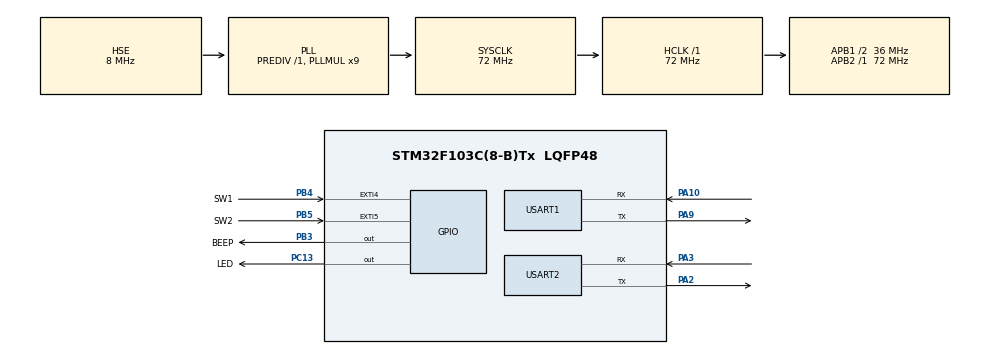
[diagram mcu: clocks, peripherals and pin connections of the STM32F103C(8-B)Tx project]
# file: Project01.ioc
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Mcu.Family=STM32F1
Mcu.Name=STM32F103C(8-B)Tx
Mcu.Package=LQFP48
NVIC.PriorityGroup=NVIC_PRIORITYGROUP_4
NVIC.USART1_IRQn=true\:3\:0\:true\:false\:true\:true\:true\:true
NVIC.USART2_IRQn=true\:3\:0\:true\:false\:true\:true\:true\:true
PA10.Mode=Asynchronous
PA10.Signal=USART1_RX
PA13.Mode=Serial_Wire
PA13.Signal=SYS_JTMS-SWDIO
PA14.Mode=Serial_Wire
PA14.Signal=SYS_JTCK-SWCLK
PA2.Mode=Asynchronous
PA2.Signal=USART2_TX
PA3.Mode=Asynchronous
PA3.Signal=USART2_RX
PA9.Mode=Asynchronous
PA9.Signal=USART1_TX
PB3.GPIO_Label=BEEP
PB3.PinState=GPIO_PIN_SET
PB3.Signal=GPIO_Output
PB4.GPIO_Label=SW1
PB4.GPIO_PuPd=GPIO_PULLUP
PB4.Signal=GPXTI4
PB5.GPIO_Label=SW2
PB5.GPIO_PuPd=GPIO_PULLUP
PB5.Signal=GPXTI5
PC13-TAMPER-RTC.GPIO_Label=LED
PC13-TAMPER-RTC.PinState=GPIO_PIN_SET
PC13-TAMPER-RTC.Signal=GPIO_Output
PD0-OSC_IN.Mode=HSE-External-Oscillator
PD0-OSC_IN.Signal=RCC_OSC_IN
PD1-OSC_OUT.Mode=HSE-External-Oscillator
PD1-OSC_OUT.Signal=RCC_OSC_OUT
ProjectManager.HeapSize=0x200
ProjectManager.StackSize=0x400
ProjectManager.TargetToolchain=MDK-ARM V5.32
RCC.AHBFreq_Value=72000000
RCC.APB1CLKDivider=RCC_HCLK_DIV2
RCC.APB1Freq_Value=36000000
RCC.APB1TimFreq_Value=72000000
RCC.APB2Freq_Value=72000000
RCC.APB2TimFreq_Value=72000000
RCC.HCLKFreq_Value=72000000
RCC.PLLMUL=RCC_PLL_MUL9
RCC.PLLSourceVirtual=RCC_PLLSOURCE_HSE
RCC.SYSCLKFreq_VALUE=72000000
RCC.SYSCLKSource=RCC_SYSCLKSOURCE_PLLCLK
RCC.USBFreq_Value=72000000
TIM1.Prescaler=7.2-1
USART1.VirtualMode=VM_ASYNC
USART2.VirtualMode=VM_ASYNC
VP_TIM1_VS_ClockSourceINT.Mode=Internal
board=custom

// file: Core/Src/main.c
/* USER CODE BEGIN Header */
/**
  ******************************************************************************
  * @file           : main.c
  * @brief          : Main program body
  ******************************************************************************
  * @attention
  *
  * Copyright (c) 2022 STMicroelectronics.
  * All rights reserved.
  *
  * This software is licensed under terms that can be found in the LICENSE file
  * in the root directory of this software component.
  * If no LICENSE file comes with this software, it is provided AS-IS.
  *
  ******************************************************************************
  */
/* USER CODE END Header */
#include "main.h"
#include "tim.h"
#include "usart.h"
#include "gpio.h"

/* USER CODE BEGIN Includes */
#include "hal_temp_hum.h"
#include "esp8266_at.h"
#include "esp8266_mqtt.h"
//#include <stdio.h>		//在usart.h中已经定义
#include <string.h>
/* USER CODE END Includes */

/* USER CODE BEGIN PD */

#define USER_MAIN_DEBUG

#ifdef USER_MAIN_DEBUG
#define user_main_printf(format, ...) printf( format "\r\n",##__VA_ARGS__)
#define user_main_info(format, ...) printf("【main】info:" format "\r\n",##__VA_ARGS__)
#define user_main_debug(format, ...) printf("【main】debug:" format "\r\n",##__VA_ARGS__)
#define user_main_error(format, ...) printf("【main】error:" format "\r\n",##__VA_ARGS__)
#else
#define user_main_printf(format, ...)
#define user_main_info(format, ...)
#define user_main_debug(format, ...)
#define user_main_error(format, ...)
#endif

//此处根据自己的wifi作调整
#define WIFI_NAME "GZ08"
#define WIFI_PASSWD "wxc520521"

//此处是阿里云服务器的登陆配置
#define MQTT_BROKERADDRESS "mqtts.heclouds.com"
#define MQTT_CLIENTID "esp01s"
#define MQTT_USARNAME "554632"
#define MQTT_PASSWD "version=2018-10-31&res=products%2F554632%2Fdevices%2Fesp01s&et=2037255523&method=md5&sign=sSGm%2FRiIMglp4j11xzbXqw%3D%3D"
#define	MQTT_PUBLISH_TOPIC "$sys/554632/esp01s/dp/post/json"
#define MQTT_SUBSCRIBE_TOPIC "$sys/554632/esp01s/cmd/request/+"
#define MQTT_SUBSCRIBE_RESPONSE_TOPIC "$sys/554632/esp01s/cmd/response/"

//此处是主循环运行延时宏定义
#define LOOPTIME 30 	//程序周期循环延时时间：30ms
#define COUNTER_LEDBLINK			(300/LOOPTIME)		//LED运行闪烁时间：300ms
#define COUNTER_RUNINFOSEND		(5000/LOOPTIME)		//运行串口提示：5s
#define COUNTER_MQTTHEART     (5000/LOOPTIME)		//MQTT发送心跳包：5s
#define COUNTER_STATUSREPORT	(3000/LOOPTIME)		//状态上传：3s

/* USER CODE END PD */

/* USER CODE BEGIN PV */
char mqtt_message[300];	//MQTT的上报消息缓存
/* USER CODE END PV */

void SystemClock_Config(void);
/* USER CODE BEGIN PFP */
void Enter_ErrorMode(uint8_t mode);
void ES8266_MQTT_Init(void);
void Change_LED_Status(void);
void STM32DHT11_StatusReport(void);
void deal_MQTT_message(uint8_t* buf,uint16_t len);
/* USER CODE END PFP */

int main(void)
{

  /* MCU Configuration--------------------------------------------------------*/

  /* Reset of all peripherals, Initializes the Flash interface and the Systick. */
  HAL_Init();

  /* Configure the system clock */
  SystemClock_Config();

  /* Initialize all configured peripherals */
  MX_GPIO_Init();
  MX_USART1_UART_Init();
  MX_USART2_UART_Init();
  MX_TIM1_Init();
  /* USER CODE BEGIN 2 */

		//开启USART1接收中断
	HAL_UART_Receive_IT(&huart1,usart1_rxone,1);			//打开USART1中断，接收订阅消息

	ES8266_MQTT_Init();
	//HAL_UART_Transmit(&huart2,"456",3,0xFFFF);
	//HAL_GPIO_WritePin(BEEP_GPIO_Port,BEEP_Pin,0);

  /* USER CODE END 2 */

  /* Infinite loop */
  /* USER CODE BEGIN WHILE */

	uint16_t Counter_RUNLED_Blink = 0;
	uint16_t Counter_RUNInfo_Send = 0;
	uint16_t Counter_MQTT_Heart = 0;
	uint16_t Counter_StatusReport = 0;
  while (1)
  {
    /* USER CODE END WHILE */

    /* USER CODE BEGIN 3 */

		//运行灯闪烁
//		if(Counter_RUNLED_Blink++>COUNTER_LEDBLINK)
//		{
//			Counter_RUNLED_Blink = 0;
//			HAL_GPIO_TogglePin(LED_GPIO_Port,LED_Pin);
//		}

		//运行状态打印
		if(Counter_RUNInfo_Send++>COUNTER_RUNINFOSEND)
		{
			Counter_RUNInfo_Send = 0;
			user_main_info("程序正在运行！\r\n");
		}

		//心跳包发送
//		if(Counter_MQTT_Heart++>COUNTER_MQTTHEART)
//		{
//			Counter_MQTT_Heart = 0;
//			MQTT_SentHeart();
//		}

		//本机状态上报
		if(Counter_StatusReport++>COUNTER_STATUSREPORT)
		{
			Counter_StatusReport = 0;
			STM32DHT11_StatusReport();
		}

		//如果接收缓存有数据
		if(usart1_rxcounter)
		{
			deal_MQTT_message(usart1_rxbuf,usart1_rxcounter);
		}

		HAL_Delay(LOOPTIME);

  }
  /* USER CODE END 3 */
}

void SystemClock_Config(void)
{
  RCC_OscInitTypeDef RCC_OscInitStruct = {0};
  RCC_ClkInitTypeDef RCC_ClkInitStruct = {0};

  /** Initializes the RCC Oscillators according to the specified parameters
  * in the RCC_OscInitTypeDef structure.
  */
  RCC_OscInitStruct.OscillatorType = RCC_OSCILLATORTYPE_HSE;
  RCC_OscInitStruct.HSEState = RCC_HSE_ON;
  RCC_OscInitStruct.HSEPredivValue = RCC_HSE_PREDIV_DIV1;
  RCC_OscInitStruct.HSIState = RCC_HSI_ON;
  RCC_OscInitStruct.PLL.PLLState = RCC_PLL_ON;
  RCC_OscInitStruct.PLL.PLLSource = RCC_PLLSOURCE_HSE;
  RCC_OscInitStruct.PLL.PLLMUL = RCC_PLL_MUL9;
  if (HAL_RCC_OscConfig(&RCC_OscInitStruct) != HAL_OK)
  {
    Error_Handler();
  }

  /** Initializes the CPU, AHB and APB buses clocks
  */
  RCC_ClkInitStruct.ClockType = RCC_CLOCKTYPE_HCLK|RCC_CLOCKTYPE_SYSCLK
                              |RCC_CLOCKTYPE_PCLK1|RCC_CLOCKTYPE_PCLK2;
  RCC_ClkInitStruct.SYSCLKSource = RCC_SYSCLKSOURCE_PLLCLK;
  RCC_ClkInitStruct.AHBCLKDivider = RCC_SYSCLK_DIV1;
  RCC_ClkInitStruct.APB1CLKDivider = RCC_HCLK_DIV2;
  RCC_ClkInitStruct.APB2CLKDivider = RCC_HCLK_DIV1;

  if (HAL_RCC_ClockConfig(&RCC_ClkInitStruct, FLASH_LATENCY_2) != HAL_OK)
  {
    Error_Handler();
  }
}

/* USER CODE BEGIN 4 */

/******************************  USART1接收中断代码  *****************************/

// ES8266驱动串口接收中断处理函数
void HAL_UART_RxCpltCallback(UART_HandleTypeDef *huart)
{
	if(huart->Instance == USART1)	// 判断是由哪个串口触发的中断
	{
		//将接收到的数据放入接收usart1接收数组
		usart1_rxbuf[usart1_rxcounter] = usart1_rxone[0];
		usart1_rxcounter++;	//接收数量＋1

		//重新使能串口1接收中断
		HAL_UART_Receive_IT(&huart1,usart1_rxone,1);
	}
}

/******************************  按键中断代码  *****************************/

//KEY1按下动作执行函数
void KEY1_Pressed(void)
{
	user_main_debug("我按下了KEY_1\r\n");
	Change_LED_Status();
}

//KEY2按下动作执行函数
void KEY2_Pressed(void)
{
	user_main_debug("我按下了KEY_2\r\n");
}

//按键中断处理函数
void HAL_GPIO_EXTI_Callback(uint16_t GPIO_Pin)
{
    switch(GPIO_Pin)
    {
        case SW1_Pin:KEY1_Pressed();break;
        case SW2_Pin:KEY2_Pressed();break;
        default:break;
    }
}

//改变LED灯状态
void Change_LED_Status(void)
{
	static uint8_t ledstatus = 0;

	switch(ledstatus++)
	{
		case 0://000
			HAL_GPIO_WritePin(LED_GPIO_Port,LED_Pin,GPIO_PIN_RESET);
			HAL_GPIO_WritePin(LED_GPIO_Port,LED_Pin,GPIO_PIN_RESET);
			HAL_GPIO_WritePin(LED_GPIO_Port,LED_Pin,GPIO_PIN_RESET);
		break;
		case 1://001
			HAL_GPIO_WritePin(LED_GPIO_Port,LED_Pin,GPIO_PIN_RESET);
			HAL_GPIO_WritePin(LED_GPIO_Port,LED_Pin,GPIO_PIN_RESET);
			HAL_GPIO_WritePin(LED_GPIO_Port,LED_Pin,GPIO_PIN_SET);
		break;
		case 2://010
			HAL_GPIO_WritePin(LED_GPIO_Port,LED_Pin,GPIO_PIN_RESET);
			HAL_GPIO_WritePin(LED_GPIO_Port,LED_Pin,GPIO_PIN_SET);
			HAL_GPIO_WritePin(LED_GPIO_Port,LED_Pin,GPIO_PIN_RESET);
		break;
		case 3://011
			HAL_GPIO_WritePin(LED_GPIO_Port,LED_Pin,GPIO_PIN_RESET);
			HAL_GPIO_WritePin(LED_GPIO_Port,LED_Pin,GPIO_PIN_SET);
			HAL_GPIO_WritePin(LED_GPIO_Port,LED_Pin,GPIO_PIN_SET);
		break;
		case 4://100
			HAL_GPIO_WritePin(LED_GPIO_Port,LED_Pin,GPIO_PIN_SET);
			HAL_GPIO_WritePin(LED_GPIO_Port,LED_Pin,GPIO_PIN_RESET);
			HAL_GPIO_WritePin(LED_GPIO_Port,LED_Pin,GPIO_PIN_RESET);
		break;
		case 5://101
			HAL_GPIO_WritePin(LED_GPIO_Port,LED_Pin,GPIO_PIN_SET);
			HAL_GPIO_WritePin(LED_GPIO_Port,LED_Pin,GPIO_PIN_RESET);
			HAL_GPIO_WritePin(LED_GPIO_Port,LED_Pin,GPIO_PIN_SET);
		break;
		case 6://110
			HAL_GPIO_WritePin(LED_GPIO_Port,LED_Pin,GPIO_PIN_SET);
			HAL_GPIO_WritePin(LED_GPIO_Port,LED_Pin,GPIO_PIN_SET);
			HAL_GPIO_WritePin(LED_GPIO_Port,LED_Pin,GPIO_PIN_RESET);
		break;
		case 7://111
			HAL_GPIO_WritePin(LED_GPIO_Port,LED_Pin,GPIO_PIN_SET);
			HAL_GPIO_WritePin(LED_GPIO_Port,LED_Pin,GPIO_PIN_SET);
			HAL_GPIO_WritePin(LED_GPIO_Port,LED_Pin,GPIO_PIN_SET);
		break;
		default:ledstatus=0;break;
	}
}

/******************************  进入错误模式代码  *****************************/

//进入错误模式等待手动重启
void Enter_ErrorMode(uint8_t mode)
{
	HAL_GPIO_WritePin(LED_GPIO_Port,LED_Pin,GPIO_PIN_SET);
	while(1)
	{
		switch(mode){
			case 0:user_main_error("ESP8266初始化失败！\r\n");break;
			case 1:user_main_error("ESP8266连接热点失败！\r\n");break;
			case 2:user_main_error("ESP8266连接阿里云服务器失败！\r\n");break;
			case 3:user_main_error("ESP8266阿里云MQTT登陆失败！\r\n");break;
			case 4:user_main_error("ESP8266阿里云MQTT订阅主题失败！\r\n");break;
			default:user_main_info("Nothing\r\n");break;
		}
		user_main_info("请重启开发板");

		//HAL_GPIO_TogglePin(LED_GPIO_Port,LED_Pin);
		HAL_Delay(200);
	}
}

/******************************  开发板外设测试代码  *****************************/

/* 调试串口测试函数 */
void TEST_usart2(void)
{
	user_main_debug("我是USART2测试代码！\n");
	HAL_Delay(1000);
}

/* LED测试函数 */
void TEST_LED(void)
{
	//红灯亮，其它灭
	HAL_GPIO_WritePin(LED_GPIO_Port,LED_Pin,GPIO_PIN_RESET);
	HAL_GPIO_WritePin(LED_GPIO_Port,LED_Pin,GPIO_PIN_SET);
	HAL_GPIO_WritePin(LED_GPIO_Port,LED_Pin,GPIO_PIN_SET);
	HAL_Delay(500);
	//绿灯亮，其它灭
	HAL_GPIO_WritePin(LED_GPIO_Port,LED_Pin,GPIO_PIN_SET);
	HAL_GPIO_WritePin(LED_GPIO_Port,LED_Pin,GPIO_PIN_RESET);
	HAL_GPIO_WritePin(LED_GPIO_Port,LED_Pin,GPIO_PIN_SET);
	HAL_Delay(500);
	//蓝灯亮，其它灭
	HAL_GPIO_WritePin(LED_GPIO_Port,LED_Pin,GPIO_PIN_SET);
	HAL_GPIO_WritePin(LED_GPIO_Port,LED_Pin,GPIO_PIN_SET);
	HAL_GPIO_WritePin(LED_GPIO_Port,LED_Pin,GPIO_PIN_RESET);
	HAL_Delay(500);
}

/* us级别延时测试函数 */
void TEST_delayus(void)
{
	static uint16_t tim1_test;

	//延时1000个1ms
	for(tim1_test = 0;tim1_test<1000;tim1_test++)
	{
		//延时1ms
		TIM1_Delay_us(1000);
	}
	user_main_debug("我是us级延时函数测试代码，1s打印一次！\n");
}

/* DHT11温湿度传感器测试函数 */
void TEST_DHT11(void)
{
	uint8_t temperature;
	uint8_t humidity;
	uint8_t get_times;

	// 获取温湿度信息并用串口打印,获取十次，直到成功跳出
	for(get_times=0;get_times<10;get_times++)
	{
		if(!dht11Read(&temperature, &humidity))//Read DHT11 Value
		{
				user_main_info("temperature=%d,humidity=%d \n",temperature,humidity);
				break;
		}
	}
}

/* ESP8266&MQTT测试代码 */
void TEST_ES8266MQTT(void)
{
	uint8_t status=0;

	//初始化
	if(ESP8266_Init())
	{
		user_main_info("ESP8266初始化成功！\r\n");
		status++;
	}
	else Enter_ErrorMode(0);

	//连接热点
	if(status==1)
	{
		if(ESP8266_ConnectAP(WIFI_NAME,WIFI_PASSWD))
		{
			user_main_info("ESP8266连接热点成功！\r\n");
			status++;
		}
		else Enter_ErrorMode(1);
	}

	//连接阿里云IOT服务器
	if(status==2)
	{
		if(ESP8266_ConnectServer("TCP",MQTT_BROKERADDRESS,1883)!=0)
		{
			user_main_info("ESP8266连接阿里云服务器成功！\r\n");
			status++;
		}
		else Enter_ErrorMode(2);
	}

	//登陆MQTT
	if(status==3)
	{
		if(MQTT_Connect(MQTT_CLIENTID, MQTT_USARNAME, MQTT_PASSWD) != 0)
		{
			user_main_info("ESP8266阿里云MQTT登陆成功！\r\n");
			status++;
		}
		else Enter_ErrorMode(3);
	}

	//订阅主题
	if(status==4)
	{
		if(MQTT_SubscribeTopic(MQTT_SUBSCRIBE_TOPIC,0,1) != 0)
		{
			user_main_info("ESP8266阿里云MQTT订阅主题成功！\r\n");
		}
		else Enter_ErrorMode(4);
	}
}

/******************************  STM32 MQTT业务代码  *****************************/

//MQTT初始化函数
void ES8266_MQTT_Init(void)
{
	uint8_t status=0;

	//初始化
	if(ESP8266_Init())
	{
		user_main_info("ESP8266初始化成功！\r\n");

		status++;
	}
	else Enter_ErrorMode(0);

	//连接热点
	if(status==1)
	{
		if(ESP8266_ConnectAP(WIFI_NAME,WIFI_PASSWD))
		{
			user_main_info("ESP8266连接热点成功！\r\n");

			status++;
		}
		else Enter_ErrorMode(1);
	}

	//连接阿里云IOT服务器
	if(status==2)
	{
		if(ESP8266_ConnectServer("TCP",MQTT_BROKERADDRESS,1883)!=0)
		{
			user_main_info("ESP8266连接阿里云服务器成功！\r\n");

			status++;
		}
		else Enter_ErrorMode(2);
	}

	//登陆MQTT
	if(status==3)
	{
		if(MQTT_Connect(MQTT_CLIENTID, MQTT_USARNAME, MQTT_PASSWD) != 0)
		{
			user_main_info("ESP8266阿里云MQTT登陆成功！\r\n");
			status++;
		}
		else Enter_ErrorMode(3);
	}

	//订阅主题
	if(status==4)
	{
		if(MQTT_SubscribeTopic(MQTT_SUBSCRIBE_TOPIC,0,1) != 0)
		{
			user_main_info("ESP8266阿里云MQTT订阅主题成功！\r\n");
		}
		else Enter_ErrorMode(4);
	}
}

//单片机状态上报
void STM32DHT11_StatusReport(void)
{
	//获取温湿度信息
	uint8_t temperature;
	uint8_t humidity;
	uint8_t get_times;

	// 获取温湿度信息并用串口打印,获取十次，直到成功跳出
	for(get_times=0;get_times<10;get_times++)
	{
		if(!dht11Read(&temperature, &humidity))//Read DHT11 Value
		{
			user_main_info("temperature=%d,humidity=%d \n",temperature,humidity);
			break;
		}
	}

	//上报一次数据
	uint8_t led_r_status = HAL_GPIO_ReadPin(LED_GPIO_Port,LED_Pin) ? 0:1;
	uint8_t led_g_status = HAL_GPIO_ReadPin(LED_GPIO_Port,LED_Pin) ? 0:1;
	uint8_t led_b_status = HAL_GPIO_ReadPin(LED_GPIO_Port,LED_Pin) ? 0:1;

	//不同平台的上报数据方式不同
//	sprintf(mqtt_message,
//	"{\"method\":\"thing.service.property.set\",\"id\":\"181454577\",\"params\":{\
//		\"DHT11_Temperature\":%.1f,\
//		\"DHT11_Humidity\":%.1f,\
//		\"Switch_LEDR\":%d,\
//		\"Switch_LEDG\":%d,\
//		\"Switch_LEDB\":%d\
//	},\"version\":\"1.0.0\"}",
//	(float)temperature,
//	(float)humidity,
//	led_r_status,
//	led_g_status,
//	led_b_status
//	);
	sprintf(mqtt_message,
	"{\"id\": 123,\"dp\": {\"temperatrue\": [{\"v\":%2.1f,}], \"humidity\": [{ \"v\":%2.1f,}]}}",
	(float)temperature,
	(float)humidity);
	MQTT_PublishData(MQTT_PUBLISH_TOPIC,mqtt_message,0);
}

char temp_str[30];    // 临时子串
void ReadStrUnit(char * str,char *temp_str,int idx,int len)  // 从母串中获取与子串长度相等的临时子串
{
    int index;
    for(index = 0; index < len; index++)
    {
        temp_str[index] = str[idx+index];
    }
    temp_str[index] = '\0';
}
int GetSubStrPos(char *str1,char *str2,uint16_t len1,uint16_t len2)
{
    int idx = 0;

    if( len1 < len2)
    {
        //printf("error 1 \n"); // 子串比母串长
        return -1;
    }

    while(1)
    {
        ReadStrUnit(str1,temp_str,idx,len2);    // 不断获取的从 母串的 idx 位置处更新临时子串
        if(strcmp(str2,temp_str)==0)break;      // 若临时子串和子串一致，结束循环
        idx++;                                  // 改变从母串中取临时子串的位置
        if(idx>=len1)return -1;                 // 若 idx 已经超出母串长度，说明母串不包含该子串
    }

    return idx;    // 返回子串第一个字符在母串中的位置
}

//应答MQTT请求
void MQTT_response(char * buf,uint16_t len1,uint16_t len2){
																				//MQTT响应数组 MQTT响应数组长度 云平台请求内容长度
	char response_data[37] = "";
	int i;
	for(i=0;i<36;i++){

		response_data[i] = buf[len1 - len2 + i - 36 + 1];
	}
	char str[300];
	strcpy (str,MQTT_SUBSCRIBE_RESPONSE_TOPIC);
	strcat (str,response_data);
	MQTT_PublishData(str,"OK",0);

}

//处理MQTT下发的消息
void deal_MQTT_message(uint8_t* buf,uint16_t len)
{
	uint8_t data[512];
	uint16_t data_len = len;
	for(int i=0;i<data_len;i++)
	{
		data[i] = buf[i];
		HAL_UART_Transmit(&huart2,&data[i],1,100);
	}
	memset(usart1_rxbuf,0,sizeof(usart1_rxbuf)); //清空接收缓冲
	usart1_rxcounter=0;
	user_main_info("MQTT收到消息,数据长度=%d \n",data_len);

	//查找是否是设置红灯
	int i = GetSubStrPos((char*)data,"LEDR",data_len,sizeof("LEDR"));
	if( i>0 )
	{

//		uint8_t ledr_status = data[i+6]-'0';
//		HAL_GPIO_WritePin(LED_GPIO_Port,LED_Pin,GPIO_PIN_SET);
//		HAL_GPIO_WritePin(LED_GPIO_Port,LED_Pin,GPIO_PIN_SET);
//		HAL_GPIO_WritePin(LED_GPIO_Port,LED_Pin,GPIO_PIN_SET);
//		if(ledr_status)
//			HAL_GPIO_WritePin(LED_GPIO_Port,LED_Pin,GPIO_PIN_RESET);
//		else
			HAL_GPIO_WritePin(LED_GPIO_Port,LED_Pin,0);
		MQTT_response((char*)data,data_len,sizeof("LEDR"));
	}

//	//查找是否是设置绿灯
//	i = GetSubStrPos((char*)data,"LEDG");
//	if( i>0 )
//	{
//		uint8_t ledr_status = data[i+6]-'0';
//		HAL_GPIO_WritePin(LED_GPIO_Port,LED_Pin,GPIO_PIN_SET);
//		HAL_GPIO_WritePin(LED_GPIO_Port,LED_Pin,GPIO_PIN_SET);
//		HAL_GPIO_WritePin(LED_GPIO_Port,LED_Pin,GPIO_PIN_SET);
//		if(ledr_status)
//			HAL_GPIO_WritePin(LED_GPIO_Port,LED_Pin,GPIO_PIN_RESET);
//		else
//			HAL_GPIO_WritePin(LED_GPIO_Port,LED_Pin,GPIO_PIN_SET);
//	}
//
//	//查找是否是设置蓝灯
//	i = GetSubStrPos((char*)data,"LEDB");
//	if( i>0 )
//	{
//		uint8_t ledr_status = data[i+6]-'0';
//		HAL_GPIO_WritePin(LED_GPIO_Port,LED_Pin,GPIO_PIN_SET);
//		HAL_GPIO_WritePin(LED_GPIO_Port,LED_Pin,GPIO_PIN_SET);
//		HAL_GPIO_WritePin(LED_GPIO_Port,LED_Pin,GPIO_PIN_SET);
//		if(ledr_status)
//			HAL_GPIO_WritePin(LED_GPIO_Port,LED_Pin,GPIO_PIN_RESET);
//		else
//			HAL_GPIO_WritePin(LED_GPIO_Port,LED_Pin,GPIO_PIN_SET);
//	}

}

/* USER CODE END 4 */

void Error_Handler(void)
{
  __disable_irq();
  while (1)
  {
  }
}
